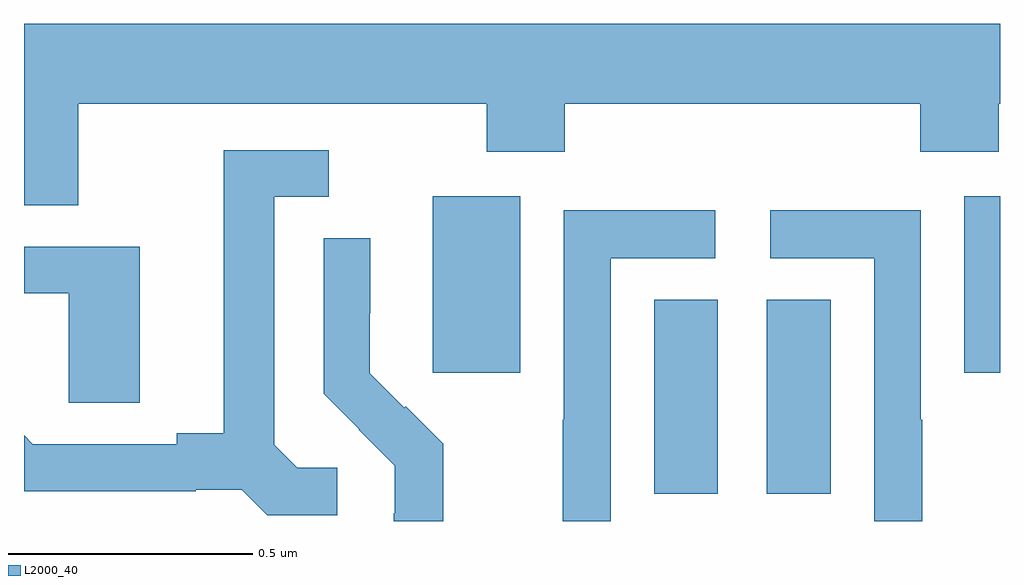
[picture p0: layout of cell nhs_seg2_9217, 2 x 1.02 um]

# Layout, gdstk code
import gdstk
lib = gdstk.Library(unit=1e-6, precision=1e-09)
def R(c, l, rs):  # rectangles x0, y0, x1, y1
    for r in rs: c.add(gdstk.rectangle(r[:2], r[2:], *l))
def P(c, l, *ps):  # polygons
    for p in ps: c.add(gdstk.Polygon(p, *l))
L2000_40 = (2000, 40)

nhs_seg2_9217 = lib.new_cell('nhs_seg2_9217')
R(nhs_seg2_9217, L2000_40, [(227.291,626.857,227.422,627.254), (227.522,626.857,227.653,627.254), (226.838,627.105,227.017,627.466), (227.927,627.105,228,627.466)])
P(nhs_seg2_9217, L2000_40, [(226.111,627.656),(226.948,627.656),(226.948,627.557),(227.108,627.557),(227.108,627.656),(227.837,627.656),(227.837,627.557),(227.997,627.557),(227.997,627.656),(228,627.656),(228,627.82),(226,627.82),(226,627.448),(226.111,627.448)],
  [(226.642,626.91),(226.56,626.91),(226.513,626.957),(226.513,627.465),(226.624,627.465),(226.624,627.561),(226.409,627.561),(226.409,626.981),(226.313,626.981),(226.313,626.958),(226.018,626.958),(226,626.976),(226,626.862),(226.352,626.862),(226.352,626.865),(226.446,626.865),(226.498,626.813),(226.642,626.813)],
  [(227.202,627.339),(227.416,627.339),(227.416,627.438),(227.106,627.438),(227.106,627.008),(227.104,627.008),(227.104,626.8),(227.202,626.8)],
  [(227.841,627.008),(227.838,627.008),(227.838,627.438),(227.529,627.438),(227.529,627.339),(227.742,627.339),(227.742,626.8),(227.841,626.8)],
  [(226.859,626.959),(226.782,627.036),(226.779,627.033),(226.709,627.104),(226.709,627.226),(226.71,627.226),(226.71,627.38),(226.614,627.38),(226.614,627.062),(226.687,626.989),(226.686,626.988),(226.76,626.914),(226.76,626.817),(226.758,626.817),(226.758,626.8),(226.859,626.8)],
  [(226.237,627.363),(226,627.363),(226,627.267),(226.092,627.267),(226.092,627.043),(226.237,627.043)])

lib.write_gds('nhs_seg2_9217.gds')
